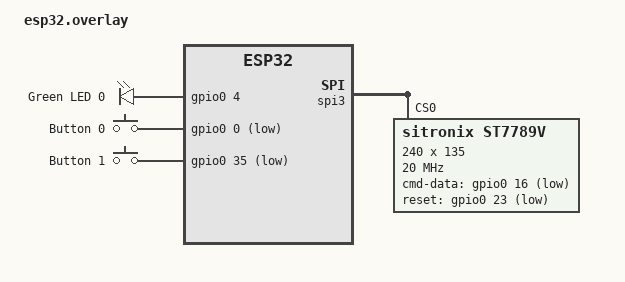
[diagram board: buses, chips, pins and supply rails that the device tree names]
/ {


	chosen {
		zephyr,display = &st7789v;
	};

	leds {
		compatible = "gpio-leds";
		led0: led_0 {
			gpios = <&gpio0 4 GPIO_ACTIVE_HIGH>;
			label = "Green LED 0";
		};
	};

	buttons {
		compatible = "gpio-keys";
		sw0: button_0 {
			gpios = <&gpio0 0 (GPIO_ACTIVE_LOW | GPIO_PULL_UP)>;
			label = "Button 0";
		};
		sw1: button_1 {
			gpios = <&gpio0 35 GPIO_ACTIVE_LOW>;
			label = "Button 1";
		};
	};
	
	aliases {
		led0 = &led0;
		sw0 = &sw0;
		sw1 = &sw1;
	};
};

&spi3 {
	st7789v: st7789v@0 {
		compatible = "sitronix,st7789v";
		spi-max-frequency = <20000000>;
		reg = <0>;
		cmd-data-gpios = <&gpio0 16 GPIO_ACTIVE_LOW>;
		reset-gpios = <&gpio0 23 GPIO_ACTIVE_LOW>;

		/*** Select lines on one of these blocks ***/

		/* Portrait */
		/* width = <135>; */
		/* height = <240>; */
		/* x-offset = <52>; */
		/* y-offset = <40>; */
		/* mdac = <0x08>; /* ST7789V_MADCTL_BGR */

		/* Landscape */
		width = <240>;
		height = <135>;
		x-offset = <40>;
		y-offset = <52>;
		mdac = <0xA8>; /* ST7789V_MADCTL_BGR */


		vcom = <0x28>;
		gctrl = <0x35>;
		vrhs = <0x10>;
		vdvs = <0x20>;
		gamma = <0x01>;
		colmod = <0x55>;
		lcm = <0x0C>;
		porch-param = [0C 0C 00 33 33];
		cmd2en-param = [5A 69 02 01];
		pwctrl1-param = [A4 A1];
		pvgam-param = [D0 00 02 07 0A 28 32 44 42 06 0E 12 14 17];
		nvgam-param = [D0 00 02 07 0A 28 31 54 47 0E 1C 17 1B 1E];
		ram-param = [00 E0];
		rgb-param = [CD 08 14];
	};
};

&pinctrl {
	spim3_default: spim3_default {
		group1 {
			pinmux = <SPIM3_SCLK_GPIO18>,
				 <SPIM3_CSEL_GPIO5>;
		};
		group2 {
			pinmux = <SPIM3_MOSI_GPIO19>;
			output-low;
		};
	};
};

